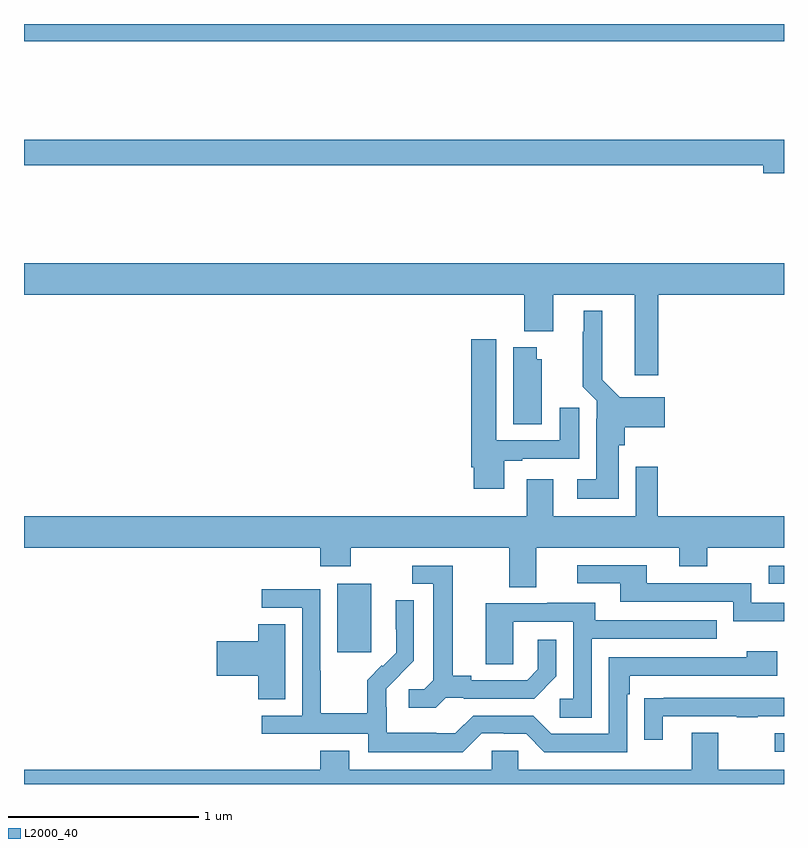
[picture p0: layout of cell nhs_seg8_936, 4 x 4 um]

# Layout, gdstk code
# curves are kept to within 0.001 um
import gdstk
lib = gdstk.Library(unit=1e-6, precision=1e-09)
def R(c, l, rs):  # rectangles x0, y0, x1, y1
    for r in rs: c.add(gdstk.rectangle(r[:2], r[2:], *l))
def P(c, l, *ps):  # polygons
    for p in ps: c.add(gdstk.Polygon(p, *l))
L2000_40 = (2000, 40)

nhs_seg8_936 = lib.new_cell('nhs_seg8_936')
R(nhs_seg8_936, L2000_40, [(174.951,1138.071,175,1138.167), (172.649,1138.593,172.828,1138.954), (174.921,1138.953,175,1139.049), (171,1141.808,175,1141.9)])
P(nhs_seg8_936, L2000_40, [(175,1141.292),(171,1141.292),(171,1141.156),(174.89,1141.156),(174.89,1141.114),(175,1141.114)],
  [(174.338,1140.476),(175,1140.476),(175,1140.64),(171,1140.64),(171,1140.476),(173.633,1140.476),(173.633,1140.284),(173.785,1140.284),(173.785,1140.476),(174.215,1140.476),(174.215,1140.051),(174.338,1140.051)],
  [(174.13,1139.682),(174.161,1139.682),(174.161,1139.777),(174.373,1139.777),(174.373,1139.935),(174.135,1139.935),(174.043,1140.028),(174.043,1140.391),(173.945,1140.391),(173.945,1140.281),(173.941,1140.281),(173.941,1139.99),(174.015,1139.916),(174.015,1139.822),(174.011,1139.822),(174.011,1139.503),(173.913,1139.503),(173.913,1139.402),(174.13,1139.402)],
  [(173.527,1139.601),(173.623,1139.601),(173.623,1139.613),(173.923,1139.613),(173.923,1139.881),(173.819,1139.881),(173.819,1139.709),(173.485,1139.709),(173.485,1140.241),(173.354,1140.241),(173.354,1139.566),(173.366,1139.566),(173.366,1139.454),(173.527,1139.454)],
  [(173.725,1140.135),(173.698,1140.135),(173.698,1140.199),(173.576,1140.199),(173.576,1139.794),(173.725,1139.794)],
  [(173.695,1139.144),(174.449,1139.144),(174.449,1139.045),(174.597,1139.045),(174.597,1139.144),(175,1139.144),(175,1139.308),(174.335,1139.308),(174.335,1139.569),(174.219,1139.569),(174.219,1139.308),(173.785,1139.308),(173.785,1139.503),(173.645,1139.503),(173.645,1139.308),(171,1139.308),(171,1139.144),(172.559,1139.144),(172.559,1139.045),(172.719,1139.045),(172.719,1139.144),(173.555,1139.144),(173.555,1138.936),(173.695,1138.936)],
  [(175,1138.854),(174.828,1138.854),(174.828,1138.956),(174.277,1138.956),(174.277,1139.052),(173.913,1139.052),(173.913,1138.956),(174.137,1138.956),(174.137,1138.86),(174.732,1138.86),(174.732,1138.757),(175,1138.757)],
  [(173.22,1138.353),(173.314,1138.353),(173.314,1138.35),(173.686,1138.35),(173.802,1138.466),(173.802,1138.66),(173.705,1138.66),(173.705,1138.503),(173.648,1138.446),(173.353,1138.446),(173.353,1138.469),(173.257,1138.469),(173.257,1139.049),(173.043,1139.049),(173.043,1138.953),(173.153,1138.953),(173.153,1138.445),(173.106,1138.398),(173.025,1138.398),(173.025,1138.301),(173.168,1138.301)],
  [(173.409,1138.167),(173.525,1138.167),(173.525,1138.164),(173.643,1138.164),(173.739,1138.068),(174.174,1138.068),(174.174,1138.373),(174.187,1138.373),(174.187,1138.47),(174.964,1138.47),(174.964,1138.6),(174.803,1138.6),(174.803,1138.566),(174.078,1138.566),(174.078,1138.164),(173.775,1138.164),(173.679,1138.26),(173.364,1138.26),(173.271,1138.167),(173.171,1138.167),(173.171,1138.171),(172.908,1138.171),(172.908,1138.305),(172.906,1138.305),(172.906,1138.402),(173.052,1138.55),(173.052,1138.868),(172.956,1138.868),(172.956,1138.714),(172.958,1138.714),(172.958,1138.592),(172.887,1138.521),(172.884,1138.524),(172.807,1138.447),(172.807,1138.273),(172.563,1138.273),(172.563,1138.496),(172.56,1138.496),(172.56,1138.926),(172.251,1138.926),(172.251,1138.827),(172.464,1138.827),(172.464,1138.26),(172.251,1138.26),(172.251,1138.164),(172.812,1138.164),(172.812,1138.067),(173.309,1138.067)],
  [(173.988,1138.665),(174.647,1138.665),(174.647,1138.761),(174.007,1138.761),(174.007,1138.855),(173.753,1138.855),(173.753,1138.851),(173.429,1138.851),(173.429,1138.531),(173.574,1138.531),(173.574,1138.755),(173.892,1138.755),(173.892,1138.35),(173.82,1138.35),(173.82,1138.249),(173.988,1138.249)],
  [(172.375,1138.742),(172.232,1138.742),(172.232,1138.652),(172.014,1138.652),(172.014,1138.469),(172.232,1138.469),(172.232,1138.345),(172.375,1138.345)],
  [(174.361,1138.257),(174.751,1138.257),(174.751,1138.252),(174.863,1138.252),(174.863,1138.257),(175,1138.257),(175,1138.353),(174.367,1138.353),(174.367,1138.352),(174.265,1138.352),(174.265,1138.134),(174.361,1138.134)],
  [(175,1137.976),(174.655,1137.976),(174.655,1138.171),(174.515,1138.171),(174.515,1137.976),(173.601,1137.976),(173.601,1138.074),(173.463,1138.074),(173.463,1137.976),(172.711,1137.976),(172.711,1138.075),(172.559,1138.075),(172.559,1137.976),(171,1137.976),(171,1137.9),(175,1137.9)])

lib.write_gds('nhs_seg8_936.gds')
